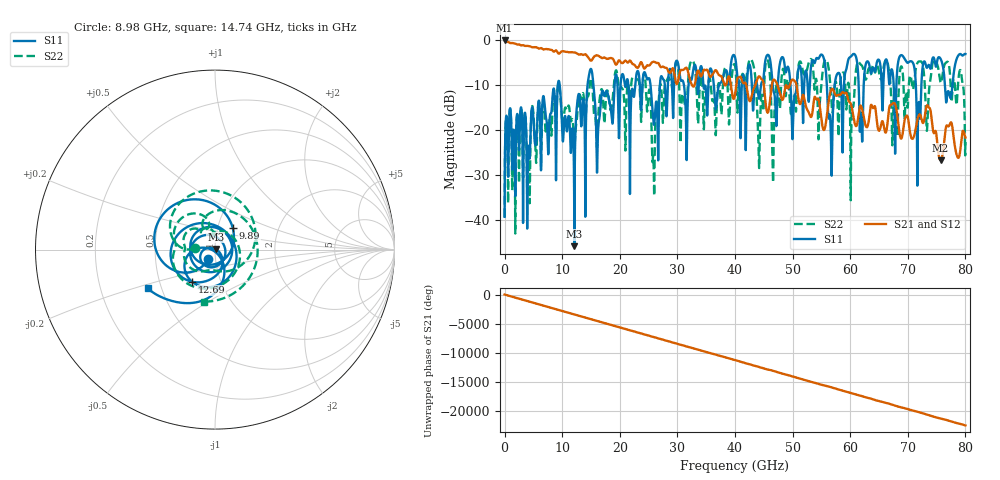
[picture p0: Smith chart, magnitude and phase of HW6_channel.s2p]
! Created Fri Mar 22 22:14:15 2024
# hz S ma R 50
! 2 Port Network Data from SP1.SP block
! freq  magS11  angS11  magS21  angS21  magS12  angS12  magS22  angS22
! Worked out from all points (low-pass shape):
!   8000 points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, 10 MHz to 80 GHz, reference 50 ohm
!   highest |S21| = -0.07 dB at 10 MHz (marker M1); lowest = -26.7 dB at 75.68 GHz (marker M2)
!   |S21| within 3 dB of the highest: start of sweep to 12.7 GHz
!   lowest |S11| = -45.9 dB at 12.12 GHz (marker M3), VSWR 1.01, Z = 50.4 + j0.298 ohm
!   |S11| at or under -10 dB: start of sweep to 9.255 GHz; 9.575 GHz to 14.41 GHz (4.832 GHz wide, 40.3 % of centre); 15.43 GHz to 19.09 GHz (3.663 GHz wide, 21.2 % of centre)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
!   |S22| runs from -43.1 to -4.2 dB; largest |S21 - S12| = 0
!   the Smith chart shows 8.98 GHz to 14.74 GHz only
!   S11 on the Smith chart (normalised r, x): 8.98 GHz: 0.92, -0.09; 9.89 GHz: 1.18, +0.29; 12.69 GHz: 0.73, -0.27; 14.74 GHz: 0.42, -0.22
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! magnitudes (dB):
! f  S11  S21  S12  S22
! 10 MHz  -39.4  -0.1  -0.1  -39.4
! 8.98 GHz  -24.0  -2.3  -2.3  -19.1
! 9.89 GHz  -16.2  -2.5  -2.5  -16.4
! 12.12 GHz  -45.9  -2.7  -2.7  -23.7
! 12.69 GHz  -13.1  -3.1  -3.1  -15.4
! 13.35 GHz  -18.9  -3.2  -3.2  -13.1
! 14.74 GHz  -7.3  -4.2  -4.2  -10.5
! 16.18 GHz  -22.2  -3.4  -3.4  -19.8
! 25.85 GHz  -18.1  -4.8  -4.8  -26.7
! 26.68 GHz  -26.5  -5.1  -5.1  -14.9
! 40.01 GHz  -3.8  -12.2  -12.2  -5.7
! 44.17 GHz  -13.1  -8.1  -8.1  -27.9
! 45.65 GHz  -3.3  -16.2  -16.2  -4.4
! 46.63 GHz  -11.1  -8.9  -8.9  -31.1
! 53.34 GHz  -4.9  -16.8  -16.8  -4.5
! 56.58 GHz  -18.7  -11.5  -11.5  -10.5
! 60.15 GHz  -3.6  -14.3  -14.3  -24.3
! 61.9 GHz  -16.3  -14.7  -14.7  -5.5
! 66.67 GHz  -8.1  -16.1  -16.1  -6.3
! 71.88 GHz  -14.1  -16.8  -16.8  -4.8
! 75.68 GHz  -4.1  -26.7  -26.7  -9.4
! 80 GHz  -3.1  -21.7  -21.7  -22.7
